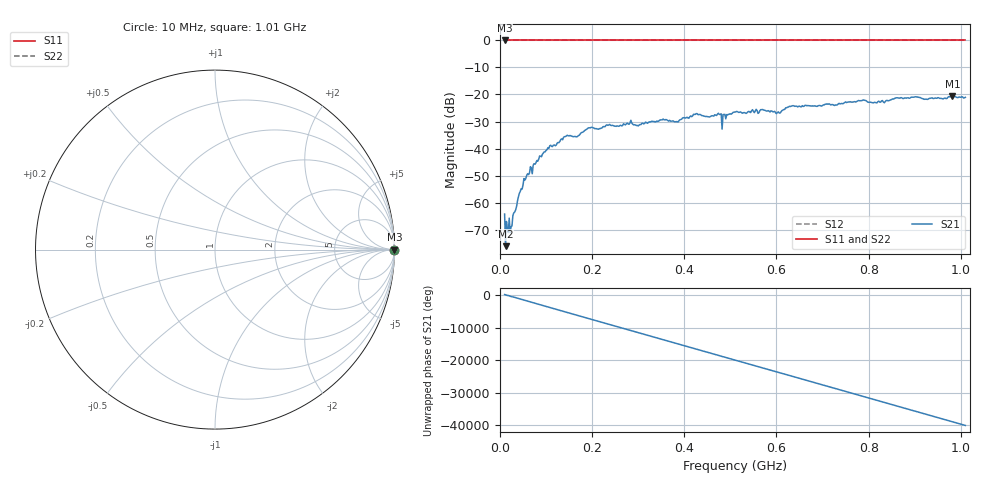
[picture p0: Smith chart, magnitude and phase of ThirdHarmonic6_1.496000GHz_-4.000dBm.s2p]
! 8/16/2025 5:32:56 PM
! C:\ANRITSUVNA\TEMP\TEMP.S2P
! CHANNEL.1
! TR.MEASUREMENT
! RAW.DATA
! RF.CORRECTION.OFF
! AVERAGING.OFF
! IF.BANDWIDTH: 5KHZ
! SWEEPTYPE:  FREQ.SWEEP(Linear)
! Reference Plane Port Info
! PORT:  PORT1  PORT2
! DISTANCE:  0  m  0  m
! TIME:  0  s  0  s
! PHASE.OFFSET:  0  deg.  0  deg.
! LOSS:  0  dB  0  dB
! REF.LOSS:  0  dB  0  dB
! REF.FREQ:  0  Hz  0  Hz
! Power Info
! POWER:  -20  dBm  -20  dBm
! EFF.POWER:  -20  dBm  -20  dBm
! SOURCE.ATTEN:  0  dB  0  dB
! TEST.ATTEN:  0  dB  0  dB
# GHZ S RI R 50.0
! FREQ.GHZ  S11RE  S11IM  S21RE  S21IM  S12RE  S12IM  S22RE  S22IM
!; PortSelection: Port_12
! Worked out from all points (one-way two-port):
!   501 points, 10 MHz to 1.01 GHz, reference 50 ohm
!   highest |S21| = -20.66 dB at 982 MHz (marker M1); lowest = -76.1 dB at 12 MHz (marker M2)
!   lowest |S11| = 0.0 dB at 10 MHz (marker M3)
!   |S11| at or under -10 dB: nowhere
!   |S22| runs from 0.0 to 0.0 dB; largest |S21 - S12| = 1.1
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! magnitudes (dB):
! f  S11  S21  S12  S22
! 10 MHz  0.0  -64.3  0.0  0.0
! 12 MHz  0.0  -76.1  0.0  0.0
! 16 MHz  0.0  -69.9  0.0  0.0
! 22 MHz  0.0  -71.1  0.0  0.0
! 42 MHz  0.0  -56.6  0.0  0.0
! 56 MHz  0.0  -51.1  0.0  0.0
! 90 MHz  0.0  -43.0  0.0  0.0
! 142 MHz  0.0  -35.5  0.0  0.0
! 178 MHz  0.0  -34.1  0.0  0.0
! 196 MHz  0.0  -32.3  0.0  0.0
! 344 MHz  0.0  -29.9  0.0  0.0
! 384 MHz  0.0  -30.0  0.0  0.0
! 424 MHz  0.0  -27.4  0.0  0.0
! 476 MHz  0.0  -27.4  0.0  0.0
! 486 MHz  0.0  -27.4  0.0  0.0
! 510 MHz  0.0  -26.5  0.0  0.0
! 604 MHz  0.0  -26.4  0.0  0.0
! 632 MHz  0.0  -24.3  0.0  0.0
! 678 MHz  0.0  -24.2  0.0  0.0
! 844 MHz  0.0  -22.3  0.0  0.0
! 982 MHz  0.0  -20.7  0.0  0.0
! 1.01 GHz  0.0  -21.1  0.0  0.0
